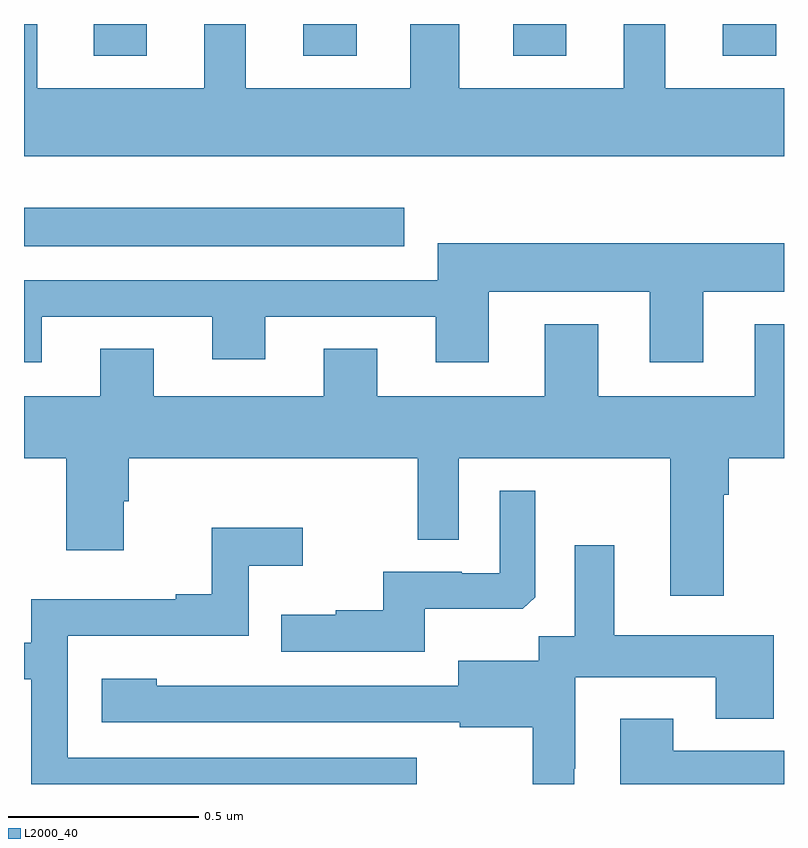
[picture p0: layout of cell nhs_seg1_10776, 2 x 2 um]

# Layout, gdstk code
import gdstk
lib = gdstk.Library(unit=1e-6, precision=1e-09)
def R(c, l, rs):  # rectangles x0, y0, x1, y1
    for r in rs: c.add(gdstk.rectangle(r[:2], r[2:], *l))
def A(c, l, x, y, w, h, nx, ny, dx, dy):  # array of equal rectangles
    R(c, l, [(x+i*dx, y+j*dy, x+i*dx+w, y+j*dy+h) for i in range(nx) for j in range(ny)])
def P(c, l, *ps):  # polygons
    for p in ps: c.add(gdstk.Polygon(p, *l))
L2000_40 = (2000, 40)

nhs_seg1_10776 = lib.new_cell('nhs_seg1_10776')
A(nhs_seg1_10776, L2000_40, 245.183, 562.115, 0.14, 0.084, 4, 1, 0.552, 0)
R(nhs_seg1_10776, L2000_40, [(245,561.614,246.001,561.715)])
P(nhs_seg1_10776, L2000_40, [(247,562.03),(246.688,562.03),(246.688,562.199),(246.578,562.199),(246.578,562.03),(246.145,562.03),(246.145,562.199),(246.017,562.199),(246.017,562.03),(245.584,562.03),(245.584,562.199),(245.474,562.199),(245.474,562.03),(245.035,562.03),(245.035,562.199),(245,562.199),(245,561.851),(247,561.851)],
  [(245.047,561.429),(245.495,561.429),(245.495,561.317),(245.635,561.317),(245.635,561.429),(246.083,561.429),(246.083,561.309),(246.223,561.309),(246.223,561.494),(246.647,561.494),(246.647,561.309),(246.787,561.309),(246.787,561.494),(247,561.494),(247,561.622),(246.089,561.622),(246.089,561.525),(245,561.525),(245,561.309),(245.047,561.309)],
  [(246.841,560.96),(246.854,560.96),(246.854,561.056),(247,561.056),(247,561.409),(246.923,561.409),(246.923,561.22),(246.511,561.22),(246.511,561.409),(246.371,561.409),(246.371,561.22),(245.929,561.22),(245.929,561.344),(245.789,561.344),(245.789,561.22),(245.341,561.22),(245.341,561.344),(245.201,561.344),(245.201,561.22),(245,561.22),(245,561.056),(245.111,561.056),(245.111,560.814),(245.263,560.814),(245.263,560.943),(245.276,560.943),(245.276,561.056),(246.036,561.056),(246.036,560.842),(246.144,560.842),(246.144,561.056),(246.701,561.056),(246.701,560.694),(246.841,560.694)],
  [(246.055,560.66),(246.313,560.66),(246.345,560.691),(246.345,560.971),(246.252,560.971),(246.252,560.754),(246.152,560.754),(246.152,560.757),(245.945,560.757),(245.945,560.656),(245.821,560.656),(245.821,560.644),(245.677,560.644),(245.677,560.547),(246.055,560.547)],
  [(246.034,560.268),(245.115,560.268),(245.115,560.589),(245.592,560.589),(245.592,560.774),(245.734,560.774),(245.734,560.873),(245.494,560.873),(245.494,560.698),(245.399,560.698),(245.399,560.685),(245.019,560.685),(245.019,560.571),(245,560.571),(245,560.475),(245.019,560.475),(245.019,560.199),(246.034,560.199)],
  [(246.448,560.239),(246.45,560.239),(246.45,560.48),(246.821,560.48),(246.821,560.371),(246.973,560.371),(246.973,560.59),(246.553,560.59),(246.553,560.827),(246.449,560.827),(246.449,560.588),(246.354,560.588),(246.354,560.524),(246.143,560.524),(246.143,560.457),(245.585,560.457),(245.585,560.458),(245.349,560.458),(245.349,560.476),(245.205,560.476),(245.205,560.361),(246.147,560.361),(246.147,560.349),(246.339,560.349),(246.339,560.199),(246.448,560.199)],
  [(247,560.286),(246.709,560.286),(246.709,560.371),(246.569,560.371),(246.569,560.199),(247,560.199)])

lib.write_gds('nhs_seg1_10776.gds')
